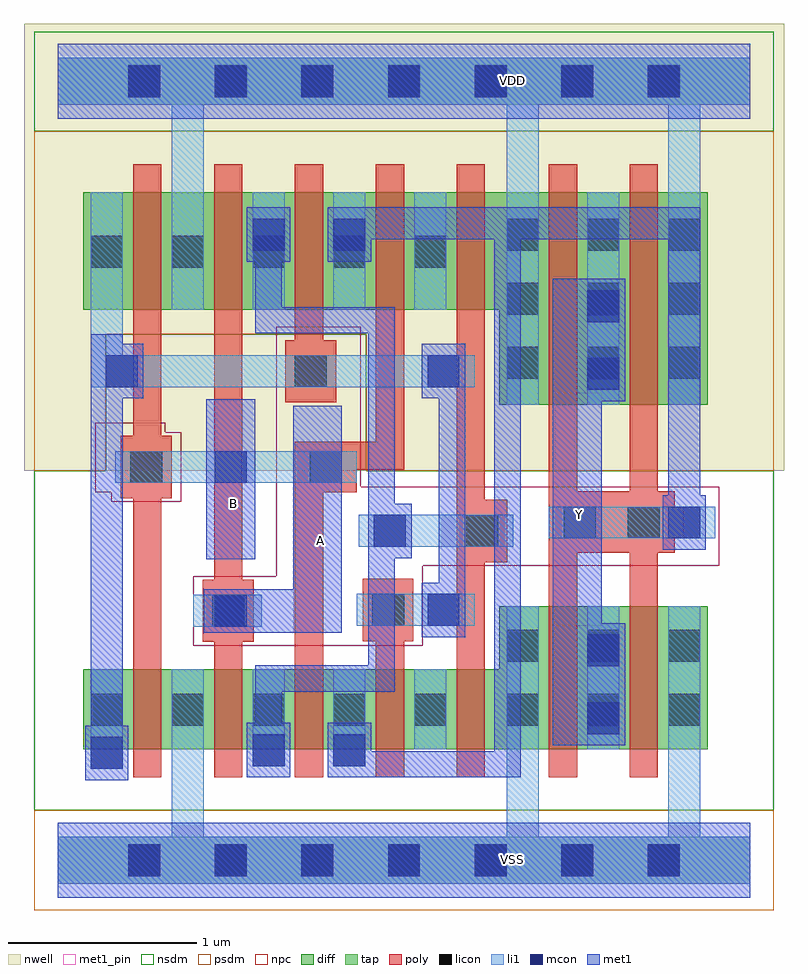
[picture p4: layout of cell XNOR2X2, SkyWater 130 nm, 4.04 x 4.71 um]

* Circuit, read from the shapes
.subckt XNOR2X2 A B VDD VSS Y
XM1 VSS B n1 VSS sky130_fd_pr__nfet_01v8 w=0.425 l=0.15
XM2 n2 A VSS VSS sky130_fd_pr__nfet_01v8 w=0.425 l=0.15
XM3 n3 B n2 VSS sky130_fd_pr__nfet_01v8 w=0.425 l=0.15
XM4 n4 n1 n3 VSS sky130_fd_pr__nfet_01v8 w=0.425 l=0.15
XM5 VSS n2 n4 VSS sky130_fd_pr__nfet_01v8 w=0.425 l=0.15
XM6 Y n3 VSS VSS sky130_fd_pr__nfet_01v8 w=0.76 l=0.15 m=2
XM7 VDD B n1 VDD sky130_fd_pr__pfet_01v8 w=0.625 l=0.15
XM8 n2 A VDD VDD sky130_fd_pr__pfet_01v8 w=0.625 l=0.15
XM9 n3 n1 n2 VDD sky130_fd_pr__pfet_01v8 w=0.625 l=0.15
XM10 n5 B n3 VDD sky130_fd_pr__pfet_01v8 w=0.625 l=0.15
XM11 VDD n2 n5 VDD sky130_fd_pr__pfet_01v8 w=0.625 l=0.15
XM12 Y n3 VDD VDD sky130_fd_pr__pfet_01v8 w=1.13 l=0.15 m=2
.ends

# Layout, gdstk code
from math import pi, radians
import gdstk
lib = gdstk.Library(unit=1e-6, precision=1e-09)
def R(c, l, rs):  # rectangles x0, y0, x1, y1
    for r in rs: c.add(gdstk.rectangle(r[:2], r[2:], *l))
def A(c, l, x, y, w, h, nx, ny, dx, dy):  # array of equal rectangles
    R(c, l, [(x+i*dx, y+j*dy, x+i*dx+w, y+j*dy+h) for i in range(nx) for j in range(ny)])
def P(c, l, *ps):  # polygons
    for p in ps: c.add(gdstk.Polygon(p, *l))
nwell = (64, 20)
diff = (65, 20)
tap = (65, 44)
poly = (66, 20)
licon = (66, 44)
li1 = (67, 20)
mcon = (67, 44)
met1_pin = (68, 16)
met1 = (68, 20)
nsdm = (93, 44)
psdm = (94, 20)
npc = (95, 20)

l1m1_c_cdns_750710154095 = lib.new_cell('L1M1_C_CDNS_750710154095')
R(l1m1_c_cdns_750710154095, li1, [(-0.165,-0.085,0.165,0.085)])
R(l1m1_c_cdns_750710154095, mcon, [(-0.085,-0.085,0.085,0.085)])
R(l1m1_c_cdns_750710154095, met1, [(-0.145,-0.115,0.145,0.115)])

pyl1con_c_cdns_750710154 = lib.new_cell('PYL1CON_C_CDNS_750710154092')
R(pyl1con_c_cdns_750710154, poly, [(-0.135,-0.165,0.135,0.165)])
R(pyl1con_c_cdns_750710154, licon, [(-0.085,-0.085,0.085,0.085)])
R(pyl1con_c_cdns_750710154, npc, [(-0.185,-0.185,0.185,0.185)])

l1m1_c_cdns_750710154091 = lib.new_cell('L1M1_C_CDNS_750710154091')
R(l1m1_c_cdns_750710154091, li1, [(-0.085,-0.165,0.085,0.165)])
R(l1m1_c_cdns_750710154091, mcon, [(-0.085,-0.085,0.085,0.085)])
R(l1m1_c_cdns_750710154091, met1, [(-0.115,-0.145,0.115,0.145)])

l1m1_c_cdns_750710154094 = lib.new_cell('L1M1_C_CDNS_750710154094')
R(l1m1_c_cdns_750710154094, li1, [(-0.085,-0.345,0.085,0.345)])
R(l1m1_c_cdns_750710154094, mcon, [(-0.085,-0.265,0.085,-0.095), (-0.085,0.095,0.085,0.265)])
R(l1m1_c_cdns_750710154094, met1, [(-0.115,-0.325,0.115,0.325)])

licondiff_c_cdns_7507101 = lib.new_cell('LICONDIFF_C_CDNS_7507101540911')
R(licondiff_c_cdns_7507101, diff, [(-0.125,-0.145,0.125,0.145)])
R(licondiff_c_cdns_7507101, licon, [(-0.085,-0.085,0.085,0.085), (-0.085,-0.085,0.085,0.085)])

l1m1_c_cdns_750710154090 = lib.new_cell('L1M1_C_CDNS_750710154090')
R(l1m1_c_cdns_750710154090, li1, [(-0.165,-0.085,0.165,0.085)])
R(l1m1_c_cdns_750710154090, mcon, [(-0.085,-0.085,0.085,0.085)])
R(l1m1_c_cdns_750710154090, met1, [(-0.115,-0.145,0.115,0.145)])

l1m1_c_cdns_750710154097 = lib.new_cell('L1M1_C_CDNS_750710154097')
R(l1m1_c_cdns_750710154097, li1, [(-0.085,-0.085,0.085,0.165)])
R(l1m1_c_cdns_750710154097, mcon, [(-0.085,-0.085,0.085,0.085)])
R(l1m1_c_cdns_750710154097, met1, [(-0.115,-0.145,0.115,0.145)])

c_pyl1con_c_cdns_750710154 = lib.new_cell('PYL1CON_C_CDNS_7507101540912')
R(c_pyl1con_c_cdns_750710154, poly, [(-0.165,-0.135,0.165,0.135)])
R(c_pyl1con_c_cdns_750710154, licon, [(-0.085,-0.085,0.085,0.085)])
R(c_pyl1con_c_cdns_750710154, npc, [(-0.185,-0.185,0.185,0.185)])

c_l1m1_c_cdns_750710154091 = lib.new_cell('L1M1_C_CDNS_7507101540913')
R(c_l1m1_c_cdns_750710154091, li1, [(-0.085,-0.06,0.085,0.19)])
R(c_l1m1_c_cdns_750710154091, mcon, [(-0.085,-0.06,0.085,0.11)])
R(c_l1m1_c_cdns_750710154091, met1, [(-0.115,-0.12,0.115,0.17)])

xnor2x2 = lib.new_cell('XNOR2X2')
A(xnor2x2, nwell, 0.425, 2.745, 0.79, 0.985, 3, 1, 0.43, 0)
R(xnor2x2, nwell, [(-0.18,2.07,3.86,4.305), (2.165,2.24,3.635,3.73), (-0.045,2.745,0.785,3.73), (1.715,2.745,2.525,3.73), (-0.18,3.875,3.86,4.445)])
A(xnor2x2, diff, 0.4, 0.59, 0.15, 0.425, 5, 1, 0.43, 0)
A(xnor2x2, diff, 0.55, 0.59, 0.055, 0.425, 4, 1, 0.43, 0)
A(xnor2x2, diff, 0.605, 0.59, 0.225, 0.425, 4, 1, 0.43, 0)
A(xnor2x2, diff, 0.4, 2.925, 0.15, 0.625, 5, 1, 0.43, 0)
A(xnor2x2, diff, 0.55, 2.925, 0.055, 0.625, 4, 1, 0.43, 0)
A(xnor2x2, diff, 0.605, 2.925, 0.225, 0.625, 4, 1, 0.43, 0)
R(xnor2x2, diff, [(0.135,0.59,0.4,1.015), (2.27,0.59,2.345,1.015), (2.345,0.59,2.61,1.35), (2.61,0.59,2.76,1.35), (2.76,0.59,3.04,1.35), (3.04,0.59,3.19,1.35), (3.19,0.59,3.455,1.35), (2.345,2.42,2.61,3.55), (2.61,2.42,2.76,3.55), (2.76,2.42,3.04,3.55), (3.04,2.42,3.19,3.55), (3.19,2.42,3.455,3.55), (0.135,2.925,0.4,3.55), (2.27,2.925,2.345,3.55)])
A(xnor2x2, poly, 0.4, 0.44, 0.15, 0.055, 5, 2, 0.43, 3.205)
A(xnor2x2, poly, 0.4, 0.495, 0.15, 0.095, 5, 2, 0.43, 0.52)
A(xnor2x2, poly, 0.4, 0.59, 0.15, 0.425, 5, 1, 0.43, 0)
A(xnor2x2, poly, 0.4, 1.11, 0.15, 0.055, 3, 1, 0.43, 0)
A(xnor2x2, poly, 0.4, 2.83, 0.15, 0.095, 5, 2, 0.43, 0.72)
A(xnor2x2, poly, 0.4, 2.925, 0.15, 0.625, 5, 1, 0.43, 0)
R(xnor2x2, poly, [(2.61,0.44,2.76,0.495), (3.04,0.44,3.19,0.495), (2.61,0.495,2.76,0.59), (3.04,0.495,3.19,0.59), (2.61,0.59,2.76,1.35), (3.04,0.59,3.19,1.35), (1.69,1.11,1.84,1.145), (2.12,1.11,2.27,1.145), (2.61,1.35,2.76,1.445), (3.04,1.35,3.19,1.445), (2.61,1.445,2.76,1.5), (3.04,1.445,3.19,1.5), (2.61,1.635,3.28,1.96), (2.61,1.66,3.28,1.93), (2.61,2.27,2.76,2.325), (3.04,2.27,3.19,2.325), (2.61,2.325,2.76,2.42), (3.04,2.325,3.19,2.42), (2.61,2.42,2.76,3.55), (3.04,2.42,3.19,3.55), (1.26,2.765,1.41,2.83), (0.4,2.775,0.55,2.83), (0.83,2.775,0.98,2.83), (1.69,2.775,1.84,2.83), (2.12,2.775,2.27,2.83), (2.61,3.55,2.76,3.645), (3.04,3.55,3.19,3.645), (2.61,3.645,2.76,3.7), (3.04,3.645,3.19,3.7)])
A(xnor2x2, licon, 0.375, -0.085, 0.17, 0.17, 7, 2, 0.46, 4.14)
A(xnor2x2, licon, 0.175, 0.715, 0.17, 0.17, 4, 2, 0.43, 2.435)
A(xnor2x2, licon, 2.385, 0.715, 0.17, 0.17, 3, 2, 0.43, 0.34)
A(xnor2x2, licon, 2.385, 2.56, 0.17, 0.17, 3, 3, 0.43, 0.34)
A(xnor2x2, li1, 0.175, 0.59, 0.17, 0.425, 4, 1, 0.43, 0)
A(xnor2x2, li1, 2.385, 0.59, 0.17, 0.76, 3, 1, 0.43, 0)
A(xnor2x2, li1, 2.385, 2.42, 0.17, 1.13, 3, 1, 0.43, 0)
A(xnor2x2, li1, 0.175, 2.925, 0.17, 0.625, 4, 1, 0.43, 0)
A(xnor2x2, mcon, 0.375, -0.085, 0.17, 0.17, 7, 2, 0.46, 4.14)
R(xnor2x2, met1_pin, [(1.25,1.21,1.51,2.415), (2.63,1.245,2.89,2.485), (0.79,1.6,1.05,2.45)])
A(xnor2x2, nsdm, 0.595, 0.46, 0.45, 0.685, 3, 1, 0.43, 0)
R(xnor2x2, nsdm, [(-0.005,0.46,0.615,1.145), (1.885,0.46,2.225,1.145), (2.205,0.46,3.595,1.46), (-0.125,3.875,3.805,4.405), (-0.125,3.93,3.805,4.35)])
P(xnor2x2, nsdm, [(3.805,2.07),(1.64,2.07),(1.64,2.795),(0.255,2.795),(0.255,2.07),(-0.125,2.07),(-0.125,0.265),(3.805,0.265)])
A(xnor2x2, psdm, 0.595, 2.795, 0.45, 0.885, 3, 1, 0.43, 0)
R(xnor2x2, psdm, [(-0.125,-0.265,3.805,0.265), (-0.125,-0.21,3.805,0.21), (2.205,2.29,3.595,3.68), (-0.005,2.795,0.615,3.68), (1.885,2.795,2.225,3.68)])
P(xnor2x2, psdm, [(3.805,3.875),(-0.125,3.875),(-0.125,2.07),(0.255,2.07),(0.255,2.795),(1.64,2.795),(1.64,2.07),(3.805,2.07)])
R(xnor2x2, npc, [(0.2,1.955,0.57,2.325), (1.16,1.955,1.61,2.835)])
P(xnor2x2, npc, [(3.515,1.985),(1.61,1.985),(1.61,2.325),(1.16,2.325),(1.16,1.51),(0.72,1.51),(0.72,1.14),(1.94,1.14),(1.94,1.565),(3.515,1.565)])
xnor2x2.add(gdstk.FlexPath([(2.685,2.27),(2.685,1.5)], 0.15, ends="flush", simple_path=True, layer=66, datatype=20))  # poly
xnor2x2.add(gdstk.FlexPath([(0.905,2.775),(0.905,1.165)], 0.15, ends="flush", simple_path=True, layer=66, datatype=20))  # poly
xnor2x2.add(gdstk.FlexPath([(1.765,1.35),(1.765,1.145)], 0.15, ends="flush", simple_path=True, layer=66, datatype=20))  # poly
xnor2x2.add(gdstk.FlexPath([(1.765,2.15),(1.765,2.775)], 0.15, ends=(0.075, 0), simple_path=True, layer=66, datatype=20))  # poly
xnor2x2.add(gdstk.FlexPath([(1.335,2.15),(1.765,2.15)], 0.15, ends="extended", simple_path=True, layer=66, datatype=20))  # poly
xnor2x2.add(gdstk.FlexPath([(1.335,1.165),(1.335,2.15)], 0.15, ends=(0, 0.075), simple_path=True, layer=66, datatype=20))  # poly
xnor2x2.add(gdstk.FlexPath([(3.115,2.27),(3.115,1.5)], 0.15, ends="flush", simple_path=True, layer=66, datatype=20))  # poly
xnor2x2.add(gdstk.FlexPath([(2.195,2.775),(2.195,1.145)], 0.15, ends="flush", simple_path=True, layer=66, datatype=20))  # poly
xnor2x2.add(gdstk.FlexPath([(0.475,2.775),(0.475,1.165)], 0.15, ends="flush", simple_path=True, layer=66, datatype=20))  # poly
xnor2x2.add(gdstk.FlexPath([(3.33,1.795),(2.685,1.795)], 0.17, ends="flush", simple_path=True, layer=66, datatype=20))  # poly
xnor2x2.add(gdstk.FlexPath([(0.26,2.93),(0.26,2.6)], 0.17, ends=(0, 0.085), simple_path=True, layer=67, datatype=20))  # li1
xnor2x2.add(gdstk.FlexPath([(2.47,0),(3.42,0)], 0.25, ends=(0.085, 0.085), simple_path=True, layer=67, datatype=20))  # li1
xnor2x2.add(gdstk.FlexPath([(3.42,0),(3.595,0)], 0.25, ends=(0.085, 0.085), simple_path=True, layer=67, datatype=20))  # li1
xnor2x2.add(gdstk.FlexPath([(0.69,0),(2.47,0)], 0.25, ends=(0.085, 0.085), simple_path=True, layer=67, datatype=20))  # li1
xnor2x2.add(gdstk.FlexPath([(3.595,0),(3.68,0)], 0.25, ends=(0.085, 0), simple_path=True, layer=67, datatype=20))  # li1
xnor2x2.add(gdstk.FlexPath([(0,0),(0.69,0)], 0.25, ends=(0, 0.085), simple_path=True, layer=67, datatype=20))  # li1
xnor2x2.add(gdstk.FlexPath([(2.47,4.14),(3.42,4.14)], 0.25, ends=(0.085, 0.085), simple_path=True, layer=67, datatype=20))  # li1
xnor2x2.add(gdstk.FlexPath([(0,4.14),(0.69,4.14)], 0.25, ends=(0, 0.085), simple_path=True, layer=67, datatype=20))  # li1
xnor2x2.add(gdstk.FlexPath([(3.42,4.14),(3.595,4.14)], 0.25, ends=(0.085, 0.085), simple_path=True, layer=67, datatype=20))  # li1
xnor2x2.add(gdstk.FlexPath([(0.69,4.14),(2.47,4.14)], 0.25, ends=(0.085, 0.085), simple_path=True, layer=67, datatype=20))  # li1
xnor2x2.add(gdstk.FlexPath([(3.595,4.14),(3.68,4.14)], 0.25, ends=(0.085, 0), simple_path=True, layer=67, datatype=20))  # li1
xnor2x2.add(gdstk.FlexPath([(1.98,2.925),(1.98,3.55)], 0.17, ends="flush", simple_path=True, layer=67, datatype=20))  # li1
xnor2x2.add(gdstk.FlexPath([(1.98,0.59),(1.98,1.015)], 0.17, ends="flush", simple_path=True, layer=67, datatype=20))  # li1
xnor2x2.add(gdstk.FlexPath([(2.61,1.795),(3.28,1.795)], 0.17, ends="flush", simple_path=True, layer=67, datatype=20))  # li1
xnor2x2.add(gdstk.FlexPath([(1.18,2.6),(1.935,2.6)], 0.17, ends="flush", simple_path=True, layer=67, datatype=20))  # li1
xnor2x2.add(gdstk.FlexPath([(2.215,1.33),(1.59,1.33)], 0.17, ends="flush", simple_path=True, layer=67, datatype=20))  # li1
xnor2x2.add(gdstk.FlexPath([(3.33,3.55),(3.33,4.14)], 0.17, ends="flush", simple_path=True, layer=67, datatype=20))  # li1
xnor2x2.add(gdstk.FlexPath([(2.47,3.55),(2.47,4.14)], 0.17, ends=(0, 0.085), simple_path=True, layer=67, datatype=20))  # li1
xnor2x2.add(gdstk.FlexPath([(2.47,4.14),(0.215,4.14)], 0.17, ends=(0.085, 0), simple_path=True, layer=67, datatype=20))  # li1
xnor2x2.add(gdstk.FlexPath([(2.47,0.59),(2.47,0)], 0.17, ends="flush", simple_path=True, layer=67, datatype=20))  # li1
xnor2x2.add(gdstk.FlexPath([(3.33,0.59),(3.33,0)], 0.17, ends="flush", simple_path=True, layer=67, datatype=20))  # li1
xnor2x2.add(gdstk.FlexPath([(1.59,2.09),(0.305,2.09)], 0.17, ends="flush", simple_path=True, layer=67, datatype=20))  # li1
xnor2x2.add(gdstk.FlexPath([(1.6,1.75),(2.42,1.75)], 0.17, ends="flush", simple_path=True, layer=67, datatype=20))  # li1
xnor2x2.add(gdstk.FlexPath([(0.26,2.6),(1.18,2.6)], 0.17, ends=(0.085, 0), simple_path=True, layer=67, datatype=20))  # li1
xnor2x2.add(gdstk.FlexPath([(0.69,3.55),(0.69,4.14)], 0.17, ends="flush", simple_path=True, layer=67, datatype=20))  # li1
xnor2x2.add(gdstk.FlexPath([(0.69,0.59),(0.69,0)], 0.17, ends="flush", simple_path=True, layer=67, datatype=20))  # li1
xnor2x2.add(gdstk.FlexPath([(0.72,1.325),(1.07,1.325)], 0.17, ends="flush", simple_path=True, layer=67, datatype=20))  # li1
xnor2x2.add(gdstk.FlexPath([(2.39,0.51),(2.39,3.385)], 0.14, ends=(0.07, 0.085), simple_path=True, layer=68, datatype=20))  # met1
xnor2x2.add(gdstk.FlexPath([(1.54,0.51),(2.39,0.51)], 0.14, ends=(0, 0.07), simple_path=True, layer=68, datatype=20))  # met1
xnor2x2.add(gdstk.FlexPath([(2.725,3.385),(2.42,3.385)], 0.17, ends="flush", simple_path=True, layer=68, datatype=20))  # met1
xnor2x2.add(gdstk.FlexPath([(0,0),(3.68,0)], 0.4, ends="flush", simple_path=True, layer=68, datatype=20))  # met1
xnor2x2.add(gdstk.FlexPath([(0,4.14),(3.68,4.14)], 0.4, ends="flush", simple_path=True, layer=68, datatype=20))  # met1
xnor2x2.add(gdstk.FlexPath([(1.12,3.325),(1.12,2.87)], 0.14, ends=(0, 0.07), simple_path=True, layer=68, datatype=20))  # met1
xnor2x2.add(gdstk.FlexPath([(1.12,2.87),(1.72,2.87)], 0.14, ends="extended", simple_path=True, layer=68, datatype=20))  # met1
xnor2x2.add(gdstk.FlexPath([(1.72,2.87),(1.72,0.965)], 0.14, ends="extended", simple_path=True, layer=68, datatype=20))  # met1
xnor2x2.add(gdstk.FlexPath([(2.095,1.35),(2.095,2.65)], 0.14, ends="flush", simple_path=True, layer=68, datatype=20))  # met1
xnor2x2.add(gdstk.FlexPath([(1.55,3.385),(3.33,3.385)], 0.17, ends=(0.07, 0.085), simple_path=True, layer=68, datatype=20))  # met1
xnor2x2.add(gdstk.FlexPath([(3.33,3.385),(3.33,1.795)], 0.17, ends=(0.085, 0), simple_path=True, layer=68, datatype=20))  # met1
xnor2x2.add(gdstk.FlexPath([(1.38,1.325),(0.92,1.325)], 0.23, ends="flush", simple_path=True, layer=68, datatype=20))  # met1
xnor2x2.add(gdstk.FlexPath([(1.12,0.965),(1.12,0.585)], 0.14, ends=(0.07, 0), simple_path=True, layer=68, datatype=20))  # met1
xnor2x2.add(gdstk.FlexPath([(0.26,2.795),(0.26,0.425)], 0.17, ends="flush", simple_path=True, layer=68, datatype=20))  # met1
xnor2x2.add(gdstk.FlexPath([(1.72,0.965),(1.12,0.965)], 0.14, ends="extended", simple_path=True, layer=68, datatype=20))  # met1
xnor2x2.add(gdstk.FlexPath([(1.38,1.21),(1.38,2.415)], 0.26, ends="flush", simple_path=True, layer=68, datatype=20))  # met1
xnor2x2.add(gdstk.FlexPath([(2.76,0.61),(2.76,3.09)], 0.26, ends="flush", simple_path=True, layer=68, datatype=20))  # met1
xnor2x2.add(gdstk.FlexPath([(0.92,1.6),(0.92,2.45)], 0.26, ends="flush", simple_path=True, layer=68, datatype=20))  # met1
xnor2x2.add(gdstk.FlexPath([(2.375,3.385),(2.39,3.385)], 0.17, ends=(0, 0.07), simple_path=True, layer=68, datatype=20))  # met1
xnor2x2.add(gdstk.FlexPath([(0,4.14),(3.68,4.14)], 0.25, ends="flush", simple_path=True, layer=65, datatype=44))  # tap
xnor2x2.add(gdstk.FlexPath([(0,0),(3.68,0)], 0.25, ends="flush", simple_path=True, layer=65, datatype=44))  # tap
xnor2x2.add(gdstk.FlexPath([(0,4.14),(3.68,4.14)], 0.4, ends="flush", simple_path=True, layer=68, datatype=16))  # met1_pin
xnor2x2.add(gdstk.FlexPath([(0,0),(3.68,0)], 0.4, ends="flush", simple_path=True, layer=68, datatype=16))  # met1_pin
xnor2x2.add(gdstk.Reference(l1m1_c_cdns_750710154095, (0.92,1.325), x_reflection=True))
xnor2x2.add(gdstk.Reference(pyl1con_c_cdns_750710154, (3.115,1.795), rotation=3*pi/2, x_reflection=True))
xnor2x2.add(gdstk.Reference(pyl1con_c_cdns_750710154, (2.775,1.795), rotation=3*pi/2, x_reflection=True))
xnor2x2.add(gdstk.Reference(pyl1con_c_cdns_750710154, (0.905,1.325), x_reflection=True))
xnor2x2.add(gdstk.Reference(pyl1con_c_cdns_750710154, (2.255,1.75), x_reflection=True))
xnor2x2.add(gdstk.Reference(pyl1con_c_cdns_750710154, (0.47,2.09), x_reflection=True))
xnor2x2.add(gdstk.Reference(pyl1con_c_cdns_750710154, (1.755,1.33), x_reflection=True))
xnor2x2.add(gdstk.Reference(pyl1con_c_cdns_750710154, (1.345,2.6), x_reflection=True))
xnor2x2.add(gdstk.Reference(l1m1_c_cdns_750710154091, (1.12,3.325)))
xnor2x2.add(gdstk.Reference(l1m1_c_cdns_750710154091, (1.55,3.325)))
xnor2x2.add(gdstk.Reference(l1m1_c_cdns_750710154094, (2.9,2.765)))
xnor2x2.add(gdstk.Reference(l1m1_c_cdns_750710154094, (2.9,0.935)))
xnor2x2.add(gdstk.Reference(licondiff_c_cdns_7507101, (1.98,3.235)))
xnor2x2.add(gdstk.Reference(licondiff_c_cdns_7507101, (1.98,0.8)))
xnor2x2.add(gdstk.Reference(l1m1_c_cdns_750710154090, (0.92,2.09), x_reflection=True))
xnor2x2.add(gdstk.Reference(l1m1_c_cdns_750710154090, (0.34,2.6)))
xnor2x2.add(gdstk.Reference(l1m1_c_cdns_750710154090, (1.765,1.75)))
xnor2x2.add(gdstk.Reference(l1m1_c_cdns_750710154090, (2.05,2.6)))
xnor2x2.add(gdstk.Reference(l1m1_c_cdns_750710154090, (2.05,1.33)))
xnor2x2.add(gdstk.Reference(l1m1_c_cdns_750710154090, (3.33,1.795)))
xnor2x2.add(gdstk.Reference(l1m1_c_cdns_750710154097, (1.12,0.585)))
xnor2x2.add(gdstk.Reference(l1m1_c_cdns_750710154097, (1.55,0.585)))
xnor2x2.add(gdstk.Reference(c_pyl1con_c_cdns_750710154, (1.425,2.09), x_reflection=True))
xnor2x2.add(gdstk.Reference(c_l1m1_c_cdns_750710154091, (0.26,0.545)))
xnor2x2.add(gdstk.Label('VDD', (2.415,4.145), layer=68, texttype=16))
xnor2x2.add(gdstk.Label('B', (0.935,1.895), layer=68, texttype=16))
xnor2x2.add(gdstk.Label('Y', (2.775,1.84), layer=68, texttype=16))
xnor2x2.add(gdstk.Label('A', (1.395,1.7), layer=68, texttype=16))
xnor2x2.add(gdstk.Label('VSS', (2.415,0.005), layer=68, texttype=16))

lib.write_gds('XNOR2X2.gds')
